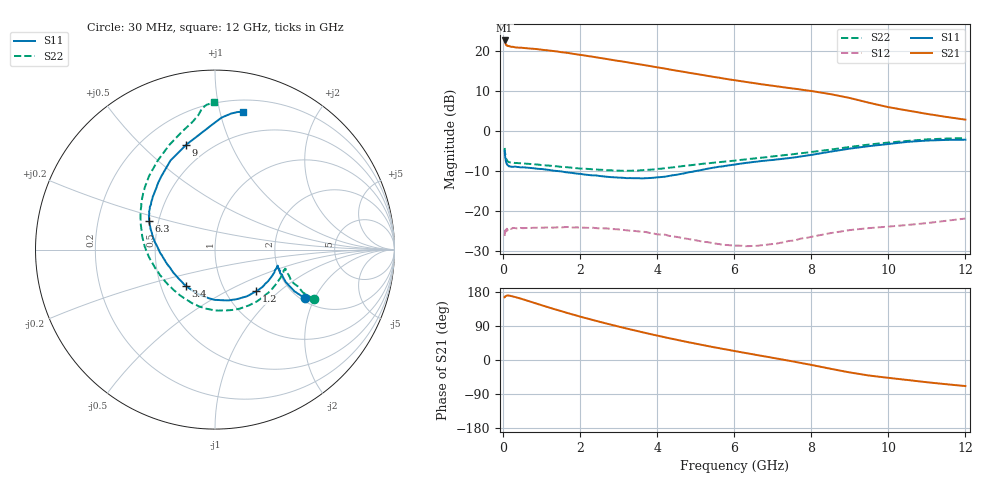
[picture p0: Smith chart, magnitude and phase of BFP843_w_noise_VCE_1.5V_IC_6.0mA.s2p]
! Infineon Technologies  Discrete & RF Semiconductors
! BFP843
! VCE =  1.5 V,  IC =  6.0 mA
! Common Emitter S-Parameters:  Aug 2013
# GHz  S  MA  R  50
!  f  S11  S21  S12  S22
! GHz  MAG  ANG  MAG  ANG  MAG  ANG  MAG  ANG
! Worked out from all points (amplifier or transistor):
!   103 points, 30 MHz to 12 GHz, reference 50 ohm
!   highest |S21| = 22.6 dB at 30 MHz (marker M1)
!   |S21| within 3 dB of that: start of sweep to 1.578 GHz
!   unconditionally stable (mu >= 1): 155.5 MHz to 1.399 GHz; 1.401 GHz to 1.571 GHz; 1.717 GHz to 11 GHz
!   at 400 MHz: K = 1.01, MAG = 21.9 dB, |S12| = -24.4 dB
!   at 3.7 GHz: K = 1.25, MAG = 17.8 dB, |S12| = -25.2 dB
!   at 12 GHz: K = 0.84, MSG = 12.3 dB, |S12| = -21.8 dB
!   lowest NFmin = 0.92 dB at 450 MHz
!   S11 on the Smith chart (normalised r, x): 30 MHz: 2.10, -1.69; 1.2 GHz: 1.38, -0.72; 3.4 GHz: 0.67, -0.29; 6.3 GHz: 0.44, +0.17; 9 GHz: 0.38, +0.69; 12 GHz: 0.30, +1.18
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0.03  0.5704 -28.4  13.55 165.6  0.0494 34.7  0.6177 -26.6
0.04  0.4997 -27.7  12.84 166.3  0.054 26.0  0.5448 -26.0
0.05  0.46 -26.0  12.43 168.4  0.0581 20.9  0.507 -24.0
0.07  0.4057 -21.7  11.88 169.3  0.0593 18.1  0.4526 -21.5
0.13  0.3708 -16.4  11.55 170.2  0.0591 7.6  0.4115 -16.4
0.3  0.3621 -15.3  11.12 166.3  0.0617 2.7  0.4 -16.9
0.7  0.3474 -27.4  10.73 154.0  0.062 -1.1  0.3893 -30.8
0.9  0.3385 -34.3  10.53 147.5  0.0624 -2.2  0.3826 -38.6
1.2  0.3274 -45.2  10.13 138.0  0.0627 -3.9  0.3712 -51.0
1.7  0.304 -63.8  9.427 122.9  0.0637 -7.8  0.353 -71.0
2.1  0.2876 -79.2  8.825 111.5  0.0625 -11.2  0.3403 -87.0
2.7  0.2692 -101.9  7.932 95.6  0.0611 -16.0  0.3251 -109.7
3.4  0.2586 -129.2  6.996 78.3  0.0569 -20.5  0.3221 -135.6
4.1  0.2675 -155.1  6.145 62.0  0.0512 -24.2  0.3401 -158.1
5  0.3183 178.4  5.191 43.0  0.0434 -24.5  0.3832 -179.0
6.1  0.3894 159.2  4.26 21.9  0.0373 -13.9  0.4345 161.9
6.3  0.4017 156.2  4.116 18.3  0.0367 -10.8  0.4444 158.7
7.6  0.4731 133.8  3.374 -5.3  0.0438 2.8  0.5215 138.7
8.5  0.5552 116.5  2.896 -23.2  0.0534 3.0  0.5891 122.9
9  0.606 105.3  2.593 -32.9  0.0583 1.2  0.6357 113.7
10.5  0.7359 87.2  1.809 -52.8  0.0675 -4.7  0.7556 97.0
12  0.7828 78.5  1.392 -68.8  0.0812 -11.7  0.8203 90.4
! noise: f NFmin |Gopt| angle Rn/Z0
0.45  0.92  0.15  7  0
0.9  0.93  0.15  17  0.03
1.5  0.96  0.15  27  0.1
1.9  0.99  0.13  40  0.18
2.4  1.03  0.11  49  0.25
3.5  1.1  0.09  63  0.29
5.5  1.25  0.14  -148  0.37
10  1.97  0.51  -72  0.43
